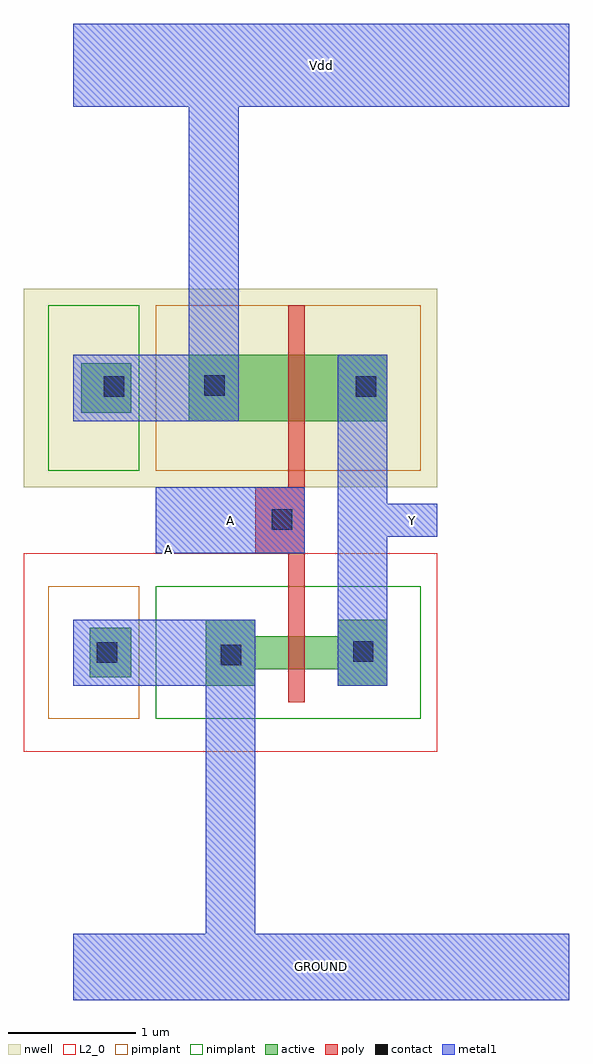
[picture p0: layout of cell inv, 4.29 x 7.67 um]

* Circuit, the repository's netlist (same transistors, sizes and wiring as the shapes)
* SPICE NETLIST
***************************************

.SUBCKT mimcap_g13 plus minus
.ENDS
***************************************
.SUBCKT spiral_inductor_lvs pos neg
.ENDS
***************************************
.SUBCKT inv Vdd GROUND Y A
** N=4 EP=4 IP=0 FDC=2
M0 Y A GROUND GROUND nmos L=1.3e-07 W=2.6e-07 $X=390 $Y=-92820 $D=19
M1 Y A Vdd Vdd pmos L=1.3e-07 W=5.2e-07 $X=390 $Y=-90870 $D=25
.ENDS
***************************************

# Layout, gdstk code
import gdstk
lib = gdstk.Library(unit=1e-6, precision=1e-09)
def R(c, l, rs):  # rectangles x0, y0, x1, y1
    for r in rs: c.add(gdstk.rectangle(r[:2], r[2:], *l))
def P(c, l, *ps):  # polygons
    for p in ps: c.add(gdstk.Polygon(p, *l))
L2_0 = (2, 0)
nwell = (3, 0)
active = (6, 0)
poly = (17, 0)
pimplant = (25, 0)
nimplant = (26, 0)
contact = (30, 0)
metal1 = (31, 0)

inv = lib.new_cell('inv')
R(inv, L2_0, [(-1.69,-93.47,1.56,-91.91)])
R(inv, nwell, [(-1.69,-91.39,1.56,-89.83)])
R(inv, active, [(-1.17,-92.885,-0.845,-92.495), (-0.39,-90.87,1.17,-90.35), (-1.235,-90.805,-0.845,-90.415)])
P(inv, active, [(-0.26,-92.95),(0.13,-92.95),(0.13,-92.82),(0.78,-92.82),(0.78,-92.95),(1.17,-92.95),(1.17,-92.43),(0.78,-92.43),(0.78,-92.56),(0.13,-92.56),(0.13,-92.43),(-0.26,-92.43)])
P(inv, poly, [(0.13,-91.91),(0.39,-91.91),(0.39,-93.08),(0.52,-93.08),(0.52,-89.96),(0.39,-89.96),(0.39,-91.39),(0.13,-91.39)])
R(inv, pimplant, [(-1.495,-93.21,-0.78,-92.17), (-0.65,-91.26,1.43,-89.96)])
R(inv, nimplant, [(-0.65,-93.21,1.43,-92.17), (-1.495,-91.26,-0.78,-89.96)])
R(inv, contact, [(-0.14,-92.79,0.02,-92.63), (-1.115,-92.77,-0.955,-92.61), (0.9,-92.76,1.06,-92.6), (0.26,-91.725,0.42,-91.565), (-1.06,-90.68,-0.9,-90.52), (0.92,-90.68,1.08,-90.52), (-0.27,-90.67,-0.11,-90.51)])
R(inv, metal1, [(-1.3,-95.42,2.6,-94.9), (-0.26,-95.16,0.13,-92.43), (-1.3,-92.95,0.13,-92.43), (0.78,-92.95,1.17,-90.35), (-0.65,-91.91,0.52,-91.39), (1.17,-91.78,1.56,-91.52), (-1.3,-90.87,0,-90.35), (-0.39,-90.87,0,-88.01), (-1.3,-88.4,2.6,-87.75)])
inv.add(gdstk.Label('A', (-0.55,-91.88), layer=131, texttype=0))
inv.add(gdstk.Label('Vdd', (0.65,-88.075), layer=131, texttype=0))
inv.add(gdstk.Label('GROUND', (0.65,-95.16), layer=131, texttype=0))
inv.add(gdstk.Label('Y', (1.365,-91.65), layer=131, texttype=0))
inv.add(gdstk.Label('Y', (1.365,-91.65), layer=31, texttype=0))
inv.add(gdstk.Label('Vdd', (0.65,-88.075), layer=31, texttype=0))
inv.add(gdstk.Label('GROUND', (0.65,-95.16), layer=31, texttype=0))
inv.add(gdstk.Label('A', (-0.065,-91.65), layer=31, texttype=0))

lib.write_gds('inv.gds')
